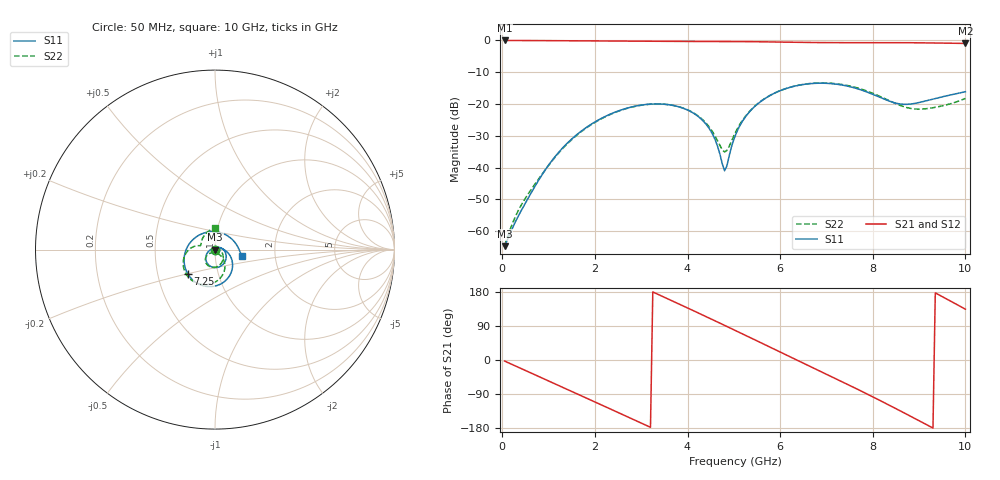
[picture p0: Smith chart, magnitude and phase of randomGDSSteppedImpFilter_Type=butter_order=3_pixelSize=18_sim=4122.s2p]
! freq	dB(S11)	phase(S11)	dB(S12)	phase(S12)
!  dB(S21)	phase(S21)	dB(S22)	phase(S22)
!S-par simulation data
#  GHz  S  DB  R 50
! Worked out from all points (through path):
!   200 points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, 50 MHz to 10 GHz, reference 50 ohm
!   highest |S21| = -0.01 dB at 50 MHz (marker M1); lowest = -0.9 dB at 10 GHz (marker M2)
!   group delay of S21, straight-line fit = 161 ps
!   lowest |S11| = -64.8 dB at 50 MHz (marker M3), VSWR 1.00, Z = 50 + j0.0314 ohm
!   |S11| at or under -10 dB: start of sweep to end of sweep
!   |S22| runs from -64.5 to -13.4 dB; largest |S21 - S12| = 0
!   S11 on the Smith chart (normalised r, x): 50 MHz: 1.00, +0.00; 7.25 GHz: 0.71, -0.20; 10 GHz: 1.35, -0.10
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0.05  -64.75 32.8  -0.01 -2.8  -0.01 -2.8  -64.48 31.5
0.3  -56.57 62.2  -0.03 -16.7  -0.03 -16.7  -54.90 36.7
0.6  -48.57 68.5  -0.04 -33.2  -0.04 -33.2  -47.40 23.7
1.2  -35.50 44.2  -0.08 -66.4  -0.08 -66.4  -35.72 5.8
1.75  -28.06 9.4  -0.12 -96.8  -0.12 -96.8  -28.23 -19.6
2.65  -21.50 -45.9  -0.21 -146.9  -0.21 -146.9  -21.57 -65.1
3.4  -19.99 -90.9  -0.28 171.2  -0.28 171.2  -20.01 -103.2
3.85  -21.06 -118.3  -0.31 145.8  -0.31 145.8  -21.03 -125.0
4.35  -25.53 -151.7  -0.32 117.4  -0.32 117.4  -25.27 -144.1
4.6  -31.37 -176.0  -0.32 103.0  -0.32 103.0  -30.25 -141.5
4.8  -41.01 106.1  -0.33 91.4  -0.33 91.4  -35.09 -99.4
5.05  -29.26 11.1  -0.35 76.9  -0.35 76.9  -28.51 -49.0
5.4  -21.51 -18.8  -0.39 56.4  -0.39 56.4  -21.40 -52.4
5.9  -16.45 -51.7  -0.49 27.0  -0.49 27.0  -16.42 -75.0
6.7  -13.54 -101.9  -0.65 -19.7  -0.65 -19.7  -13.49 -116.4
7.25  -13.84 -138.0  -0.70 -52.0  -0.70 -52.0  -13.69 -144.8
7.8  -15.84 -179.4  -0.69 -85.0  -0.69 -85.0  -15.55 -171.1
8.35  -19.06 124.7  -0.69 -118.9  -0.69 -118.9  -18.92 170.2
8.8  -20.05 66.6  -0.72 -147.4  -0.72 -147.4  -21.35 165.1
9.2  -18.82 25.1  -0.78 -173.1  -0.78 -173.1  -21.41 156.6
9.6  -17.42 -0.3  -0.86 160.7  -0.86 160.7  -20.24 130.3
10  -16.14 -13.9  -0.95 134.0  -0.95 134.0  -18.25 89.8
